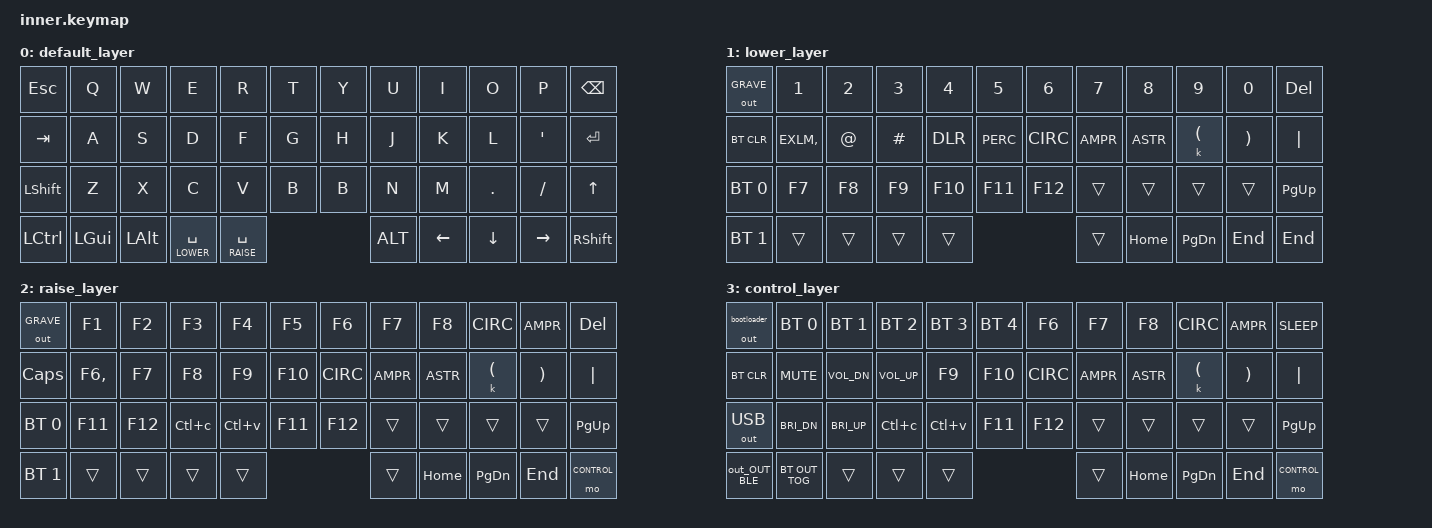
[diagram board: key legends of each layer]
/*
 * Copyright (c) 2021 The ZMK Contributors
 *
 * SPDX-License-Identifier: MIT
 */

#include <behaviors.dtsi>
#include <dt-bindings/zmk/keys.h>
#include <dt-bindings/zmk/bt.h>
#include <dt-bindings/zmk/outputs.h>
#include <dt-bindings/zmk/ext_power.h>

#define DEFAULT 0
#define LOWER   1
#define RAISE   2
#define CONTROL 3

/ {
    keymap {
        compatible = "zmk,keymap";

        default_layer {

//**************************************************************
//| ESC  | Q | W | E | R    | T | Y    | U | I | O | P | BKSP  |
//| TAB  | A | S | D | F    | G | H    | J | K | L | " | ENTER |
//| LSFT | Z | X | C | V    | B | B    | N | M | > | / | UP    | 
//| RCTL | S |   |ALT|SPCFN1|   |SPCFN2|ALT|LFT|DON|RGT| RSFT  | 
//**************************************************************
            bindings = <
//             &kp ESC             &kp N2       &kp N3       &kp N4       &kp N5       &kp N6       &kp N7       &kp N8       &kp N9       &kp N0       &kp MINUS    &kp EQUAL    &kp BSPC &kp SEMI   &kp COMMA  &kp LBKT     &kp RBKT     &kp BSLH
               &kp ESC    &kp Q    &kp W  &kp E    &kp R              &kp T  &kp Y              &kp U    &kp I    &kp O    &kp P     &kp BSPC
               &kp TAB    &kp A    &kp S  &kp D    &kp F              &kp G  &kp H              &kp J    &kp K    &kp L    &kp SQT   &kp RET
               &kp LSHFT  &kp Z    &kp X  &kp C    &kp V              &kp B  &kp B              &kp N    &kp M    &kp DOT  &kp SLASH &kp UP
               &kp LCTRL  &kp LGUI        &kp LALT &lt LOWER SPACE        &lt RAISE  SPACE      &kp ALT  &kp LEFT &kp DOWN &kp RIGHT &kp RSHFT

             >;
        };

        lower_layer {

//**********************************************************
//| ~`   | 1 | 2 | 3 | 4 | 5 | 6 | 7 | 8  | 9  | 0 | DEL   |
//| TAB  | ! | @ | # | $ | % | ^ | & | *  | (  | ) | |\    |
//| LSFT | Z | X | C | V | B | B | N | M  | >  | / | PGUP  | 
//| RCTL | S |   |ALT|SPC|   |SPC|ALT|HOME|PGDN|END| RSFT  | 
//**********************************************************
            bindings = <
                &out GRAVE   &kp N1     &kp N2  &kp N3    &kp N4   &kp N5    &kp N6    &kp N7    &kp N8    &kp N9     &kp N0    &kp DEL
                &bt BT_CLR   &kp EXLM,  &kp AT  &kp HASH  &kp DLR  &kp PERC  &kp CIRC  &kp AMPR  &kp ASTR  &k LPAR    &kp RPAR  &kp PIPE
                &bt BT_SEL 0 &kp F7     &kp F8  &kp F9    &kp F10  &kp F11   &kp F12   &trans    &trans    &trans     &trans    &kp PG_UP
                &bt BT_SEL 1 &trans             &trans    &trans             &trans    &trans    &kp HOME  &kp PG_DN  &kp END   &kp END
            >;
        };

        raise_layer {

//*********************************************************************
//| ~`   | F1  | F2  | F3 | F4  | F5  | F6 | 7  | 8   | -_  | =+ |DEL |
//| CAPS | F6  | F7  | F8 | F9  | F10 | -_ | =+ | [{  | ]}  | :; |'"  |
//| LSFT | F11 | F12 |COPY|PASTE| B   | B  | N  | M   | >   | /  |PGUP| 
//| RCTL | S   |     |ALT |SPC  |     |SPC |ALT |HOME |PGDN |END |MO3 | 
//*********************************************************************
            bindings = <
                &out GRAVE   &kp F1   &kp F2  &kp F3    &kp F4    &kp F5   &kp F6    &kp F7    &kp F8    &kp CIRC   &kp AMPR   &kp DEL
                &kp CAPS     &kp F6,  &kp F7  &kp F8    &kp F9    &kp F10  &kp CIRC  &kp AMPR  &kp ASTR  &k LPAR    &kp RPAR   &kp PIPE
                &bt BT_SEL 0 &kp F11  &kp F12 &kp LC(c) &kp LC(v) &kp F11  &kp F12   &trans    &trans    &trans     &trans     &kp PG_UP
                &bt BT_SEL 1 &trans           &trans    &trans             &trans    &trans    &kp HOME  &kp PG_DN  &kp END    &mo CONTROL
            >;
        };

        control_layer {

//*********************************************************************
//|reset| BT1 | BT2 | BT3 | F4 | F5  | F6 | 7  | 8   | -_  | =+ | DEL |
//| TAB | F6  | F7  | F8  | F9 | F10 | -_ | =+ | [{  | ]}  | :; | '"  |
//| USB | F11 | F12 | C   | V  | B   | B  | N  | M   | >   | /  | PGUP| 
//| BLE | S   |     | ALT |SPC |     |SPC |ALT |HOME |PGDN |END | RSFT|         | 
//*********************************************************************
            bindings = <
                &out bootloader  &bt BT_SEL 0   &bt BT_SEL 1  &bt BT_SEL 2    &bt BT_SEL 3    &bt BT_SEL 4   &kp F6    &kp F7    &kp F8    &kp CIRC   &kp AMPR   &kp K_SLEEP
                &bt BT_CLR       &kp C_MUTE     &kp C_VOL_DN  &kp C_VOL_UP    &kp F9          &kp F10        &kp CIRC  &kp AMPR  &kp ASTR  &k LPAR    &kp RPAR   &kp PIPE
                &out OUT_USB     &kp C_BRI_DN   &kp K_BRI_UP  &kp LC(c)       &kp LC(v)       &kp F11        &kp F12   &trans    &trans    &trans     &trans     &kp PG_UP
                &out_OUT_BLE     &bt OUT_TOG                  &trans          &trans                         &trans    &trans    &kp HOME  &kp PG_DN  &kp END    &mo CONTROL
            >;
        };

    };
};
